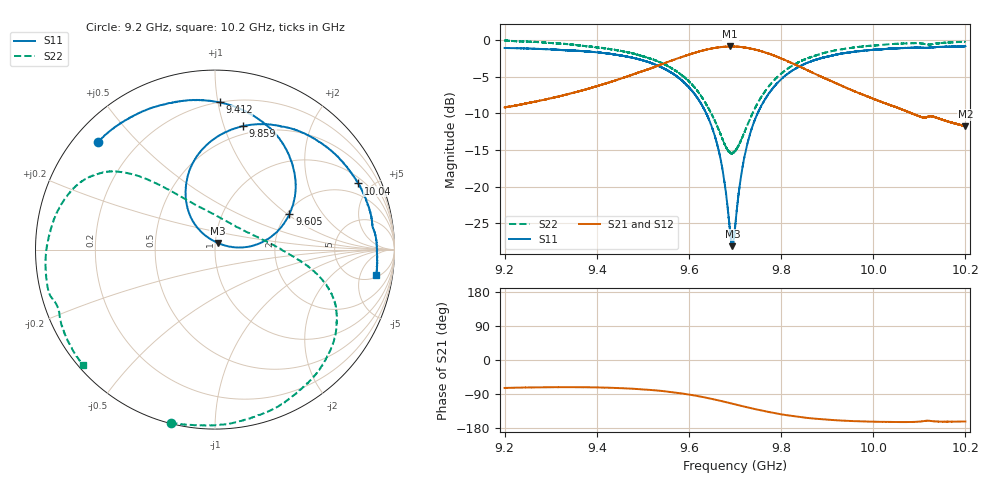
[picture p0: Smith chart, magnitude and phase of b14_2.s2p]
!Agilent Technologies,N5242A,MY51221714,A.09.90.19
!Agilent N5242A: A.09.90.19
!Date: Tuesday, March 26, 2024 16:51:02
!Correction: S11(Full 2 Port(1,2))
!S21(Full 2 Port(1,2))
!S12(Full 2 Port(1,2))
!S22(Full 2 Port(1,2))
!S2P File: Measurements: S11, S21, S12, S22:
# Hz S  dB  R 50
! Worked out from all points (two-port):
!   16001 points, 9.2 GHz to 10.2 GHz, reference 50 ohm
!   highest |S21| = -0.83 dB at 9.689 GHz (marker M1); lowest = -11.8 dB at 10.2 GHz (marker M2)
!   |S21| within 3 dB of the highest: 9.517209 GHz to 9.517734 GHz (525.2 kHz wide, 0.00552 % of centre); 9.518 GHz to 9.848 GHz (330.5 MHz wide, 3.41 % of centre)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
!   lowest |S11| = -28.1 dB at 9.695 GHz (marker M3), VSWR 1.08, Z = 51.3 + j3.74 ohm
!   |S11| at or under -10 dB: 9.638 GHz to 9.749 GHz (111.3 MHz wide, 1.15 % of centre)
!   |S22| runs from -15.5 to 0.0 dB; largest |S21 - S12| = 0.012
!   S11 on the Smith chart (normalised r, x): 9.2 GHz: 0.07, +0.39; 9.412 GHz: 0.20, +1.01; 9.605 GHz: 2.07, +1.03; 9.859 GHz: 0.42, +1.16; 10.04 GHz: 1.28, +4.17; 10.2 GHz: 6, -9
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9.2e9  -1.05 137.3  -9.17 -73.8  -9.15 -74.4  -0.04 -104.4
9.277312e9  -1.19 120.5  -8.23 -72.1  -8.23 -72.8  -0.27 -83.5
9.366688e9  -1.47 99.8  -6.88 -71.9  -6.86 -72.5  -0.74 -60.3
9.41175e9  -1.71 88.2  -6.05 -72.8  -6.03 -73.4  -1.04 -49.1
9.533375e9  -3.51 52.0  -3.45 -80.7  -3.44 -81.4  -2.89 -22.6
9.605125e9  -6.77 25.3  -1.85 -92.2  -1.84 -92.8  -5.93 -8.9
9.658812e9  -13.63 6.1  -1.01 -105.1  -1.01 -105.6  -11.37 11.9
9.67525e9  -18.56 6.2  -0.89 -109.8  -0.88 -110.3  -13.83 28.7
9.689438e9  -26.09 33.7  -0.83 -113.9  -0.83 -114.4  -15.37 53.8
9.694562e9  -28.13 68.1  -0.86 -115.3  -0.83 -116.0  -15.41 64.6
9.7e9  -25.68 103.6  -0.86 -117.0  -0.85 -117.6  -15.13 75.2
9.720125e9  -16.06 128.8  -0.98 -122.9  -0.96 -123.5  -12.64 105.6
9.74825e9  -10.08 120.8  -1.33 -130.8  -1.33 -131.5  -8.69 124.2
9.794312e9  -5.69 102.0  -2.33 -142.1  -2.33 -142.6  -4.86 135.1
9.858688e9  -3.03 77.2  -4.13 -153.0  -4.14 -153.6  -2.44 145.3
9.866688e9  -2.85 74.5  -4.37 -153.9  -4.37 -154.5  -2.25 146.6
9.935375e9  -1.79 52.8  -6.32 -160.1  -6.34 -160.7  -1.19 159.0
1.003338e10  -1.17 27.1  -8.78 -163.4  -8.77 -164.0  -0.55 180.0
1.004275e10  -1.12 24.8  -8.98 -163.6  -8.99 -164.0  -0.51 -177.9
1.009944e10  -1.02 11.7  -10.38 -162.7  -10.38 -163.2  -0.40 -165.3
1.019988e10  -0.83 -8.9  -11.75 -162.2  -11.75 -162.7  -0.21 -138.9
1.02e10  -0.81 -9.0  -11.74 -162.2  -11.73 -162.8  -0.22 -138.9
